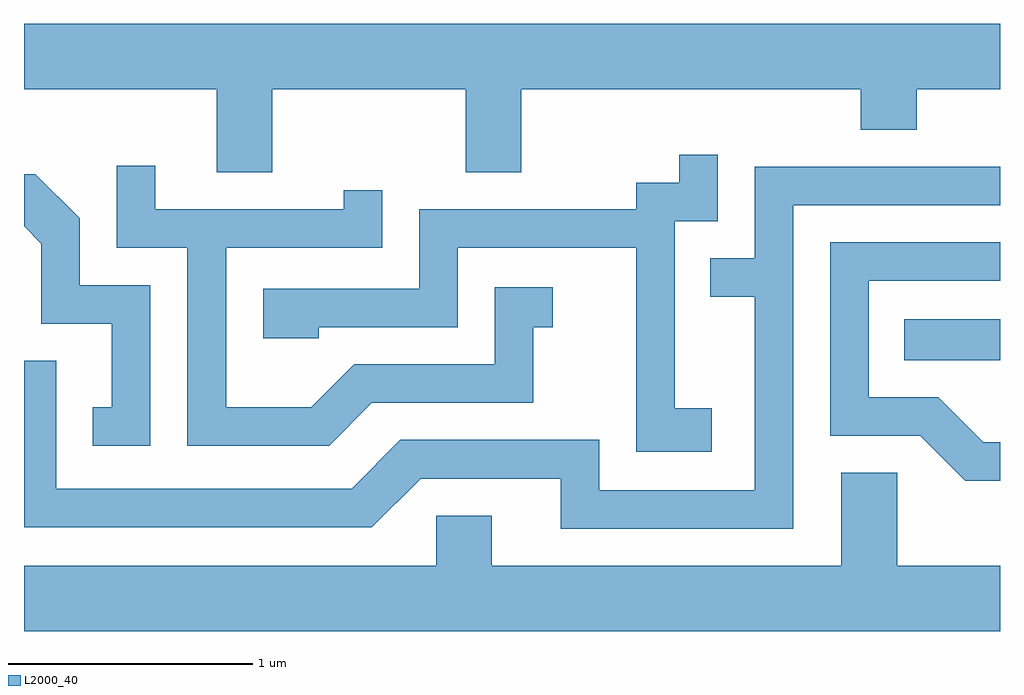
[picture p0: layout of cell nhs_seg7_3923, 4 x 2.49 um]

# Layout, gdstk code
import gdstk
lib = gdstk.Library(unit=1e-6, precision=1e-09)
def R(c, l, rs):  # rectangles x0, y0, x1, y1
    for r in rs: c.add(gdstk.rectangle(r[:2], r[2:], *l))
def P(c, l, *ps):  # polygons
    for p in ps: c.add(gdstk.Polygon(p, *l))
L2000_40 = (2000, 40)

nhs_seg7_3923 = lib.new_cell('nhs_seg7_3923')
R(nhs_seg7_3923, L2000_40, [(309.218,1699.886,309.611,1700.054)])
P(nhs_seg7_3923, L2000_40, [(306.629,1700.996),(307.421,1700.996),(307.421,1700.656),(307.649,1700.656),(307.649,1700.996),(309.041,1700.996),(309.041,1700.831),(309.269,1700.831),(309.269,1700.996),(309.611,1700.996),(309.611,1701.264),(305.611,1701.264),(305.611,1700.996),(306.401,1700.996),(306.401,1700.656),(306.629,1700.656)],
  [(308.429,1699.689),(308.279,1699.689),(308.279,1700.456),(308.454,1700.456),(308.454,1700.728),(308.296,1700.728),(308.296,1700.614),(308.121,1700.614),(308.121,1700.504),(307.231,1700.504),(307.231,1700.179),(306.591,1700.179),(306.591,1699.976),(306.819,1699.976),(306.819,1700.021),(307.389,1700.021),(307.389,1700.346),(308.121,1700.346),(308.121,1699.511),(308.429,1699.511)],
  [(307.037,1699.711),(307.699,1699.711),(307.699,1700.021),(307.778,1700.021),(307.778,1700.184),(307.541,1700.184),(307.541,1699.869),(306.964,1699.869),(306.789,1699.694),(306.439,1699.694),(306.439,1700.346),(307.079,1700.346),(307.079,1700.583),(306.921,1700.583),(306.921,1700.504),(306.149,1700.504),(306.149,1700.683),(305.991,1700.683),(305.991,1700.346),(306.281,1700.346),(306.281,1699.536),(306.862,1699.536)],
  [(308.764,1700.521),(309.611,1700.521),(309.611,1700.679),(308.606,1700.679),(308.606,1700.304),(308.423,1700.304),(308.423,1700.146),(308.606,1700.146),(308.606,1699.354),(307.969,1699.354),(307.969,1699.559),(307.154,1699.559),(306.954,1699.359),(305.744,1699.359),(305.744,1699.884),(305.611,1699.884),(305.611,1699.201),(307.037,1699.201),(307.237,1699.401),(307.811,1699.401),(307.811,1699.196),(308.764,1699.196)],
  [(306.129,1700.194),(305.839,1700.194),(305.839,1700.467),(305.657,1700.649),(305.611,1700.649),(305.611,1700.434),(305.681,1700.364),(305.681,1700.036),(305.971,1700.036),(305.971,1699.694),(305.893,1699.694),(305.893,1699.536),(306.129,1699.536)],
  [(309.611,1699.549),(309.542,1699.549),(309.357,1699.734),(309.074,1699.734),(309.074,1700.211),(309.611,1700.211),(309.611,1700.369),(308.916,1700.369),(308.916,1699.576),(309.284,1699.576),(309.469,1699.391),(309.611,1699.391)],
  [(309.611,1699.044),(309.189,1699.044),(309.189,1699.424),(308.961,1699.424),(308.961,1699.044),(307.529,1699.044),(307.529,1699.249),(307.301,1699.249),(307.301,1699.044),(305.611,1699.044),(305.611,1698.776),(309.611,1698.776)])

lib.write_gds('nhs_seg7_3923.gds')
